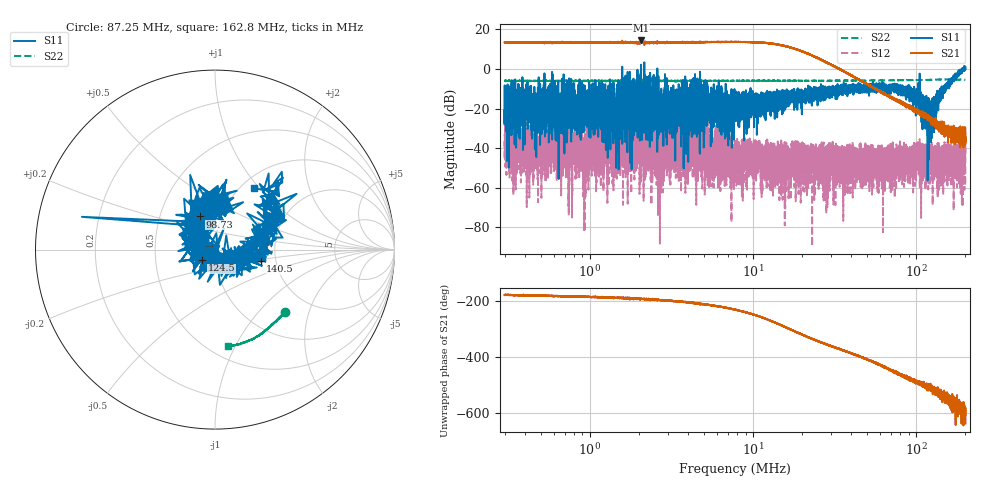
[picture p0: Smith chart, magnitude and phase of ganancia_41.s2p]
# Hz S DB R 50
! CMT, M5065, 19127446, 24.2.4/2
! Date: 11/1/2024 3:37:09 PM
! Data: Format (Calibration Info)
! Freq	S11:dB/Ang(F2)	S21:dB/Ang(F2)	S12:dB/Ang(F2)	S22:dB/Ang(F2)
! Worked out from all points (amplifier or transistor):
!   9000 points, 300 kHz to 200 MHz, reference 50 ohm
!   highest |S21| = 14.4 dB at 2.058 MHz (marker M1)
!   |S21| within 3 dB of that: start of sweep to 15.99 MHz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
!   unconditionally stable (mu >= 1): start of sweep to 1.576 MHz; 2.635 MHz to 4.369 MHz; 5.067 MHz to 190.2 MHz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
!   at 886.8 kHz: K = 15.59, MAG = 14.6 dB, |S12| = -45.7 dB
!   at 7.749 MHz: K = 7.75, MAG = 15.0 dB, |S12| = -40.1 dB
!   at 200 MHz: K = 22.72, MAG = -13.0 dB, |S12| = -43.6 dB
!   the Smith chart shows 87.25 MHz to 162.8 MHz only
!   S11 on the Smith chart (normalised r, x): 87.25 MHz: 0.98, +0.48; 98.73 MHz: 0.79, +0.31; 124.5 MHz: 0.86, -0.10; 140.5 MHz: 1.66, -0.23; 162.8 MHz: 1.14, +0.93
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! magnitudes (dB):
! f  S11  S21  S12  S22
! 300 kHz  -21.1  13.5  -36.5  -6.1
! 349.7 kHz  -23.4  13.4  -45.4  -6.0
! 493.2 kHz  -12.1  13.4  -43.5  -6.1
! 600.3 kHz  -14.1  13.4  -49.7  -6.0
! 636 kHz  -23.7  13.4  -35.0  -5.9
! 745.1 kHz  -4.8  13.4  -33.7  -6.0
! 886.8 kHz  -25.0  13.4  -45.7  -6.1
! 2.058 MHz  2.2  14.4  -40.3  -6.0
! 2.621 MHz  -19.8  13.3  -26.2  -5.6
! 4.297 MHz  -24.6  13.5  -49.2  -6.1
! 7.749 MHz  -15.3  13.7  -40.1  -6.0
! 14.03 MHz  -12.3  12.5  -39.7  -5.9
! 22.91 MHz  -13.4  6.8  -43.4  -6.0
! 67.71 MHz  -8.3  -13.7  -50.2  -5.8
! 87.25 MHz  -12.6  -18.1  -49.1  -5.6
! 98.73 MHz  -13.9  -21.0  -48.2  -5.6
! 120.2 MHz  -18.1  -25.8  -38.1  -5.5
! 124.5 MHz  -20.7  -26.3  -37.0  -5.4
! 140.5 MHz  -11.6  -30.3  -50.4  -5.3
! 162.8 MHz  -7.9  -31.5  -54.2  -5.3
! 184.3 MHz  -2.2  -34.6  -46.3  -5.4
! 200 MHz  0.0  -36.4  -43.6  -5.4
